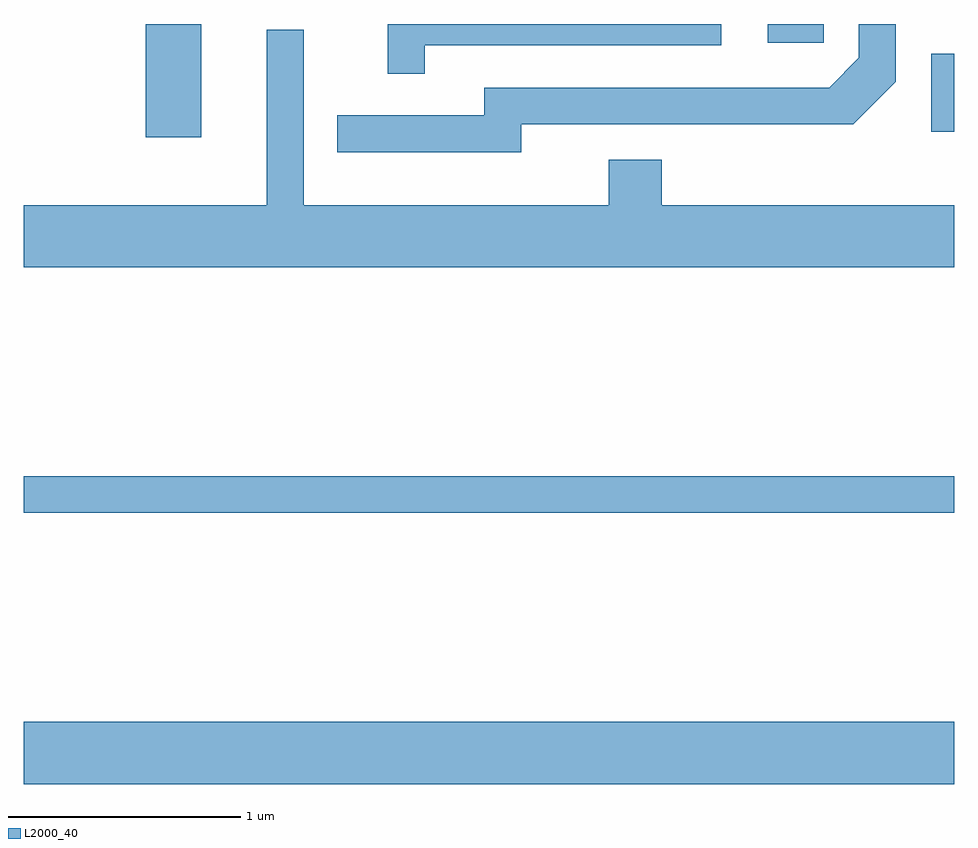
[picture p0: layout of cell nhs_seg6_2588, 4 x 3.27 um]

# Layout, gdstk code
import gdstk
lib = gdstk.Library(unit=1e-6, precision=1e-09)
def R(c, l, rs):  # rectangles x0, y0, x1, y1
    for r in rs: c.add(gdstk.rectangle(r[:2], r[2:], *l))
def P(c, l, *ps):  # polygons
    for p in ps: c.add(gdstk.Polygon(p, *l))
L2000_40 = (2000, 40)

nhs_seg6_2588 = lib.new_cell('nhs_seg6_2588')
R(nhs_seg6_2588, L2000_40, [(263.611,1578.896,267.611,1579.164), (263.611,1580.061,267.611,1580.219), (264.136,1581.676,264.374,1582.162), (267.511,1581.698,267.611,1582.034), (266.808,1582.081,267.049,1582.162)])
P(nhs_seg6_2588, L2000_40, [(265.749,1581.731),(267.177,1581.731),(267.359,1581.914),(267.359,1582.162),(267.201,1582.162),(267.201,1582.017),(267.074,1581.889),(265.591,1581.889),(265.591,1581.769),(264.958,1581.769),(264.958,1581.611),(265.749,1581.611)],
  [(265.334,1582.071),(266.608,1582.071),(266.608,1582.162),(265.176,1582.162),(265.176,1581.948),(265.334,1581.948)],
  [(267.611,1581.384),(266.354,1581.384),(266.354,1581.579),(266.126,1581.579),(266.126,1581.384),(264.814,1581.384),(264.814,1582.138),(264.656,1582.138),(264.656,1581.384),(263.611,1581.384),(263.611,1581.116),(267.611,1581.116)])

lib.write_gds('nhs_seg6_2588.gds')
